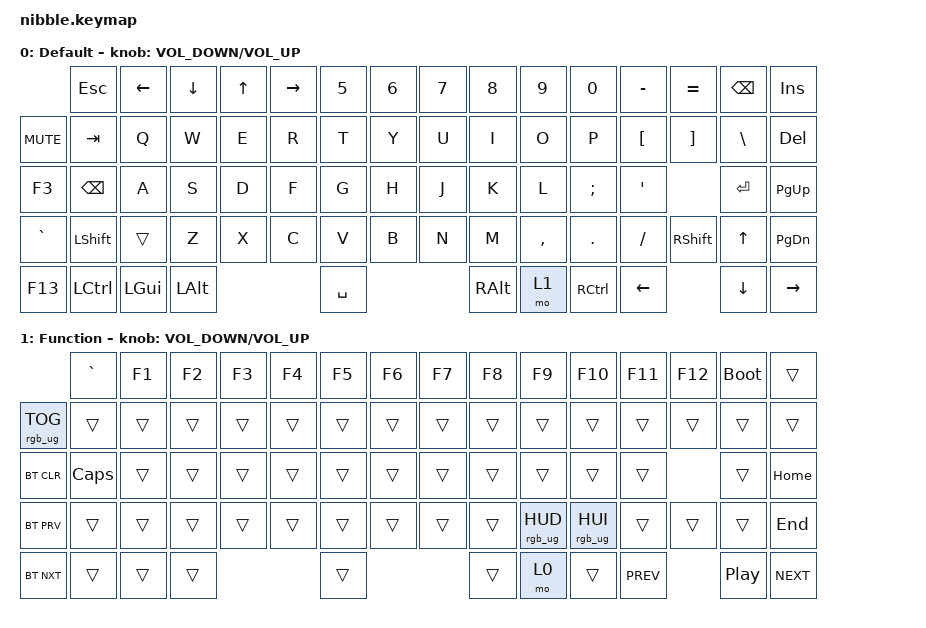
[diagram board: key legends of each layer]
/*
 * Copyright (c) 2020 The ZMK Contributors
 *
 * SPDX-License-Identifier: MIT
 */

#include <behaviors.dtsi>
#include <dt-bindings/zmk/keys.h>
#include <dt-bindings/zmk/bt.h>
#include <dt-bindings/zmk/rgb.h>
#include <../boards/shields/nibble/boards/nice_nano.overlay>

/ {
	sensors {
		compatible = "zmk,keymap-sensors";
		sensors = <&encoder_1>;
	};

	keymap {
		compatible = "zmk,keymap";

		default_layer {
			label = "Default";

			sensor-bindings = <&inc_dec_kp C_VOLUME_DOWN C_VOLUME_UP>;

			bindings = <
            &kp ESC   &kp LEFT  &kp DOWN  &kp UP    &kp RIGHT &kp N5    &kp N6    &kp N7    &kp N8    &kp N9    &kp N0    &kp MINUS &kp EQUAL &kp BSPC &kp INS
&kp C_MUTE  &kp TAB   &kp Q     &kp W     &kp E     &kp R     &kp T     &kp Y     &kp U     &kp I     &kp O     &kp P     &kp LBKT  &kp RBKT  &kp BSLH &kp DEL
&kp F3      &kp BSPC  &kp A     &kp S     &kp D     &kp F     &kp G     &kp H     &kp J     &kp K     &kp L     &kp SEMI  &kp SQT             &kp RET  &kp PG_UP
&kp GRAVE   &kp LSHFT &trans    &kp Z     &kp X     &kp C     &kp V     &kp B     &kp N     &kp M     &kp COMMA &kp DOT   &kp FSLH  &kp RSHFT &kp UP   &kp PG_DN
&kp F13     &kp LCTRL &kp LGUI  &kp LALT                      &kp SPACE                     &kp RALT  &mo 1     &kp RCTRL &kp LEFT            &kp DOWN &kp RIGHT
			>;
		};
		function_layer {
			label = "Function";
			
			sensor-bindings = <&inc_dec_kp C_VOLUME_DOWN C_VOLUME_UP>;

			bindings = <
                &kp GRAVE &kp F1    &kp F2    &kp F3    &kp F4    &kp F5    &kp F6    &kp F7    &kp F8    &kp F9          &kp F10   &kp F11   &kp F12   &bootloader   &trans
&rgb_ug RGB_TOG &trans    &trans    &trans    &trans    &trans    &trans    &trans    &trans    &trans    &trans          &trans    &trans    &trans    &trans        &trans
&bt BT_CLR      &kp CLCK  &trans    &trans    &trans    &trans    &trans    &trans    &trans    &trans    &trans          &trans    &trans              &trans        &kp HOME
&bt BT_PRV      &trans    &trans    &trans    &trans    &trans    &trans    &trans    &trans    &trans    &rgb_ug RGB_HUD &rgb_ug RGB_HUI  &trans    &trans    &trans        &kp END
&bt BT_NXT      &trans    &trans    &trans                        &trans              &trans    &mo 0     &trans          &kp C_PREV          &kp C_PP &kp C_NEXT
			>;
		};
	};
};
